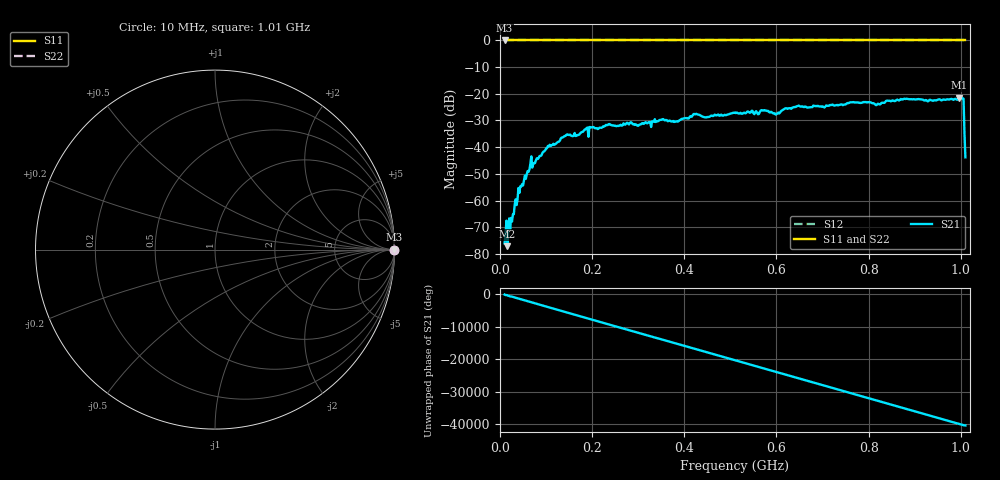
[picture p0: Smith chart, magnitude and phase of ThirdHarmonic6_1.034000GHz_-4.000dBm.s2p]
! 8/16/2025 8:52:17 AM
! C:\ANRITSUVNA\TEMP\TEMP.S2P
! CHANNEL.1
! TR.MEASUREMENT
! RAW.DATA
! RF.CORRECTION.OFF
! AVERAGING.OFF
! IF.BANDWIDTH: 5KHZ
! SWEEPTYPE:  FREQ.SWEEP(Linear)
! Reference Plane Port Info
! PORT:  PORT1  PORT2
! DISTANCE:  0  m  0  m
! TIME:  0  s  0  s
! PHASE.OFFSET:  0  deg.  0  deg.
! LOSS:  0  dB  0  dB
! REF.LOSS:  0  dB  0  dB
! REF.FREQ:  0  Hz  0  Hz
! Power Info
! POWER:  -20  dBm  -20  dBm
! EFF.POWER:  -20  dBm  -20  dBm
! SOURCE.ATTEN:  0  dB  0  dB
! TEST.ATTEN:  0  dB  0  dB
# GHZ S RI R 50.0
! FREQ.GHZ  S11RE  S11IM  S21RE  S21IM  S12RE  S12IM  S22RE  S22IM
!; PortSelection: Port_12
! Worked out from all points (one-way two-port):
!   501 points, 10 MHz to 1.01 GHz, reference 50 ohm
!   highest |S21| = -21.45 dB at 996 MHz (marker M1); lowest = -77.1 dB at 16 MHz (marker M2)
!   lowest |S11| = 0.0 dB at 10 MHz (marker M3)
!   |S11| at or under -10 dB: nowhere
!   |S22| runs from 0.0 to 0.0 dB; largest |S21 - S12| = 1.1
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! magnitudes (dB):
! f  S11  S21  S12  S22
! 10 MHz  0.0  -76.1  0.0  0.0
! 12 MHz  0.0  -72.4  0.0  0.0
! 16 MHz  0.0  -77.1  0.0  0.0
! 26 MHz  0.0  -67.9  0.0  0.0
! 44 MHz  0.0  -54.7  0.0  0.0
! 64 MHz  0.0  -48.3  0.0  0.0
! 104 MHz  0.0  -39.5  0.0  0.0
! 144 MHz  0.0  -35.4  0.0  0.0
! 178 MHz  0.0  -34.3  0.0  0.0
! 234 MHz  0.0  -31.7  0.0  0.0
! 300 MHz  0.0  -32.0  0.0  0.0
! 344 MHz  0.0  -30.2  0.0  0.0
! 510 MHz  0.0  -27.0  0.0  0.0
! 572 MHz  0.0  -26.2  0.0  0.0
! 598 MHz  0.0  -27.8  0.0  0.0
! 646 MHz  0.0  -24.6  0.0  0.0
! 678 MHz  0.0  -25.0  0.0  0.0
! 844 MHz  0.0  -22.6  0.0  0.0
! 996 MHz  0.0  -21.4  0.0  0.0
! 1.002 GHz  0.0  -21.6  0.0  0.0
! 1.004 GHz  0.0  -21.6  0.0  0.0
! 1.01 GHz  0.0  -43.8  0.0  0.0
